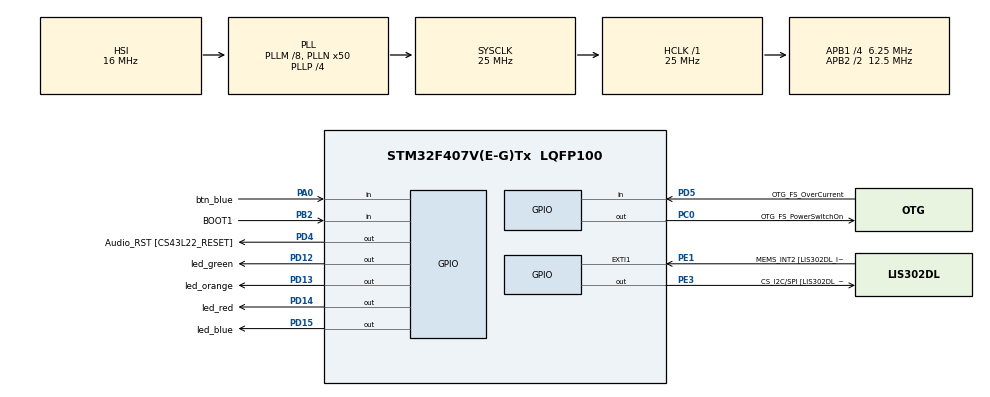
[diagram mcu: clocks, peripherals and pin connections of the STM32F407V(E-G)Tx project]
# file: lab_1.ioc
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Mcu.Family=STM32F4
Mcu.Name=STM32F407V(E-G)Tx
Mcu.Package=LQFP100
NVIC.PriorityGroup=NVIC_PRIORITYGROUP_4
NVIC.TIM7_IRQn=true\:0\:0\:false\:false\:true\:false\:true\:true
NVIC.TimeBase=TIM7_IRQn
NVIC.TimeBaseIP=TIM7
PA0-WKUP.GPIO_Label=btn_blue
PA0-WKUP.Signal=GPIO_Input
PA10.GPIO_Label=OTG_FS_ID
PA10.GPIO_Mode=GPIO_MODE_AF_PP
PA10.GPIO_PuPd=GPIO_NOPULL
PA10.GPIO_Speed=GPIO_SPEED_FREQ_LOW
PA10.Signal=USB_OTG_FS_ID
PA11.GPIO_Label=OTG_FS_DM
PA11.GPIO_Mode=GPIO_MODE_AF_PP
PA11.GPIO_PuPd=GPIO_NOPULL
PA11.GPIO_Speed=GPIO_SPEED_FREQ_LOW
PA11.Signal=USB_OTG_FS_DM
PA12.GPIO_Label=OTG_FS_DP
PA12.GPIO_Mode=GPIO_MODE_AF_PP
PA12.GPIO_PuPd=GPIO_NOPULL
PA12.GPIO_Speed=GPIO_SPEED_FREQ_LOW
PA12.Signal=USB_OTG_FS_DP
PA13.GPIO_Label=SWDIO
PA13.Mode=Serial_Wire
PA13.Signal=SYS_JTMS-SWDIO
PA14.GPIO_Label=SWCLK
PA14.Mode=Serial_Wire
PA14.Signal=SYS_JTCK-SWCLK
PA4.GPIO_Label=I2S3_WS [CS43L22_LRCK]
PA4.GPIO_Mode=GPIO_MODE_AF_PP
PA4.GPIO_PuPd=GPIO_NOPULL
PA4.GPIO_Speed=GPIO_SPEED_FREQ_LOW
PA4.Signal=I2S3_WS
PA5.GPIO_Label=SPI1_SCK [LIS302DL_SCL/SPC]
PA5.GPIO_Mode=GPIO_MODE_AF_PP
PA5.GPIO_PuPd=GPIO_NOPULL
PA5.GPIO_Speed=GPIO_SPEED_FREQ_LOW
PA5.Signal=SPI1_SCK
PA6.GPIO_Label=SPI1_MISO [LIS302DL_SDO]
PA6.GPIO_Mode=GPIO_MODE_AF_PP
PA6.GPIO_PuPd=GPIO_NOPULL
PA6.GPIO_Speed=GPIO_SPEED_FREQ_LOW
PA6.Signal=SPI1_MISO
PA7.GPIO_Label=SPI1_MOSI [LIS302DL_SDA/SDI/SDO]
PA7.GPIO_Mode=GPIO_MODE_AF_PP
PA7.GPIO_PuPd=GPIO_NOPULL
PA7.GPIO_Speed=GPIO_SPEED_FREQ_LOW
PA7.Signal=SPI1_MOSI
PA9.GPIO_Label=VBUS_FS
PA9.GPIO_Mode=GPIO_MODE_INPUT
PA9.GPIO_PuPd=GPIO_NOPULL
PA9.Signal=USB_OTG_FS_VBUS
PB10.GPIO_Label=CLK_IN [MP45DT02_CLK]
PB10.GPIO_Mode=GPIO_MODE_AF_PP
PB10.GPIO_PuPd=GPIO_NOPULL
PB10.GPIO_Speed=GPIO_SPEED_FREQ_LOW
PB10.Signal=I2S2_CK
PB2.GPIO_Label=BOOT1
PB2.GPIO_Mode=GPIO_MODE_INPUT
PB2.GPIO_PuPd=GPIO_NOPULL
PB2.Signal=GPIO_Input
PB3.GPIO_Label=SWO
PB3.Signal=SYS_JTDO-SWO
PB6.GPIO_Label=Audio_SCL [CS43L22_SCL]
PB6.GPIO_Mode=GPIO_MODE_AF_OD
PB6.GPIO_PuPd=GPIO_NOPULL
PB6.GPIO_Speed=GPIO_SPEED_FREQ_LOW
PB6.Signal=I2C1_SCL
PB9.GPIO_Label=Audio_SDA [CS43L22_SDA]
PB9.GPIO_Mode=GPIO_MODE_AF_OD
PB9.GPIO_PuPd=GPIO_NOPULL
PB9.GPIO_Speed=GPIO_SPEED_FREQ_LOW
PB9.Signal=I2C1_SDA
PC0.GPIO_Label=OTG_FS_PowerSwitchOn
PC0.GPIO_PuPd=GPIO_NOPULL
PC0.GPIO_Speed=GPIO_SPEED_FREQ_LOW
PC0.PinState=GPIO_PIN_SET
PC0.Signal=GPIO_Output
PC10.GPIO_Label=I2S3_SCK [CS43L22_SCLK]
PC10.GPIO_Mode=GPIO_MODE_AF_PP
PC10.GPIO_PuPd=GPIO_NOPULL
PC10.GPIO_Speed=GPIO_SPEED_FREQ_LOW
PC10.Signal=I2S3_CK
PC12.GPIO_Label=I2S3_SD [CS43L22_SDIN]
PC12.GPIO_Mode=GPIO_MODE_AF_PP
PC12.GPIO_PuPd=GPIO_NOPULL
PC12.GPIO_Speed=GPIO_SPEED_FREQ_LOW
PC12.Signal=I2S3_SD
PC14-OSC32_IN.GPIO_Label=PC14-OSC32_IN
PC14-OSC32_IN.Signal=RCC_OSC32_IN
PC15-OSC32_OUT.GPIO_Label=PC15-OSC32_OUT
PC15-OSC32_OUT.Signal=RCC_OSC32_OUT
PC3.GPIO_Label=PDM_OUT [MP45DT02_DOUT]
PC3.GPIO_Mode=GPIO_MODE_AF_PP
PC3.GPIO_PuPd=GPIO_NOPULL
PC3.GPIO_Speed=GPIO_SPEED_FREQ_LOW
PC3.Signal=I2S2_SD
PC7.GPIO_Label=I2S3_MCK [CS43L22_MCLK]
PC7.GPIO_Mode=GPIO_MODE_AF_PP
PC7.GPIO_PuPd=GPIO_NOPULL
PC7.GPIO_Speed=GPIO_SPEED_FREQ_LOW
PC7.Signal=I2S3_MCK
PD12.GPIO_Label=led_green
PD12.GPIO_PuPd=GPIO_NOPULL
PD12.GPIO_Speed=GPIO_SPEED_FREQ_LOW
PD12.Signal=GPIO_Output
PD13.GPIO_Label=led_orange
PD13.GPIO_PuPd=GPIO_NOPULL
PD13.GPIO_Speed=GPIO_SPEED_FREQ_LOW
PD13.Signal=GPIO_Output
PD14.GPIO_Label=led_red
PD14.GPIO_PuPd=GPIO_NOPULL
PD14.GPIO_Speed=GPIO_SPEED_FREQ_LOW
PD14.Signal=GPIO_Output
PD15.GPIO_Label=led_blue
PD15.GPIO_PuPd=GPIO_NOPULL
PD15.GPIO_Speed=GPIO_SPEED_FREQ_LOW
PD15.Signal=GPIO_Output
PD4.GPIO_Label=Audio_RST [CS43L22_RESET]
PD4.GPIO_PuPd=GPIO_NOPULL
PD4.GPIO_Speed=GPIO_SPEED_FREQ_LOW
PD4.Signal=GPIO_Output
PD5.GPIO_Label=OTG_FS_OverCurrent
PD5.GPIO_Mode=GPIO_MODE_INPUT
PD5.GPIO_PuPd=GPIO_NOPULL
PD5.Signal=GPIO_Input
PE1.GPIO_Label=MEMS_INT2 [LIS302DL_INT2]
PE1.GPIO_ModeDefaultEXTI=GPIO_MODE_EVT_RISING
PE1.GPIO_PuPd=GPIO_NOPULL
PE1.Signal=GPXTI1
PE3.GPIO_Label=CS_I2C/SPI [LIS302DL_CS_I2C/SPI]
PE3.GPIO_PuPd=GPIO_NOPULL
PE3.GPIO_Speed=GPIO_SPEED_FREQ_LOW
PE3.Signal=GPIO_Output
PH0-OSC_IN.GPIO_Label=PH0-OSC_IN
PH0-OSC_IN.Signal=RCC_OSC_IN
PH1-OSC_OUT.GPIO_Label=PH1-OSC_OUT
PH1-OSC_OUT.Signal=RCC_OSC_OUT
ProjectManager.HeapSize=0x200
ProjectManager.StackSize=0x400
ProjectManager.TargetToolchain=STM32CubeIDE
RCC.48MHZClocksFreq_Value=14285714.285714285
RCC.AHBFreq_Value=25000000
RCC.APB1CLKDivider=RCC_HCLK_DIV4
RCC.APB1Freq_Value=6250000
RCC.APB1TimFreq_Value=12500000
RCC.APB2CLKDivider=RCC_HCLK_DIV2
RCC.APB2Freq_Value=12500000
RCC.APB2TimFreq_Value=25000000
RCC.CortexFreq_Value=25000000
RCC.HCLKFreq_Value=25000000
RCC.HSE_VALUE=8000000
RCC.HSI_VALUE=16000000
RCC.LSE_VALUE=32768
RCC.PLLM=8
RCC.PLLN=50
RCC.PLLP=RCC_PLLP_DIV4
RCC.PLLQ=7
RCC.SYSCLKFreq_VALUE=25000000
RCC.SYSCLKSource=RCC_SYSCLKSOURCE_PLLCLK
RCC.VCOOutputFreq_Value=100000000
VP_SYS_VS_tim7.Mode=TIM7
board=STM32F407G-DISC1

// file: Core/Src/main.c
/* USER CODE BEGIN Header */
/**
  ******************************************************************************
  * @file           : main.c
  * @brief          : Main program body
  ******************************************************************************
  * @attention
  *
  * Copyright (c) 2025 STMicroelectronics.
  * All rights reserved.
  *
  * This software is licensed under terms that can be found in the LICENSE file
  * in the root directory of this software component.
  * If no LICENSE file comes with this software, it is provided AS-IS.
  *
  ******************************************************************************
  */
/* USER CODE END Header */
#include "main.h"

/* USER CODE BEGIN Includes */
#include "stdio.h"
#include "stdlib.h"
#include "FreeRTOS.h"
#include "task.h"
#include "queue.h"

/* USER CODE END Includes */

void SystemClock_Config(void);
static void MX_GPIO_Init(void);

/* USER CODE BEGIN 0 */
QueueHandle_t xQueue;
void LEDTask_App(void *pvParameters);
void BUTTONTask_App(void *pvParameters);
/* USER CODE END 0 */

int main(void)
{

  /* MCU Configuration--------------------------------------------------------*/

  /* Reset of all peripherals, Initializes the Flash interface and the Systick. */
  HAL_Init();

  /* Configure the system clock */
  SystemClock_Config();

  /* Initialize all configured peripherals */
  MX_GPIO_Init();
  /* USER CODE BEGIN 2 */
  xQueue = xQueueCreate(1, sizeof(int));

  xTaskCreate(
		  LEDTask_App,
		  "LEDTask_App",
		  128,
		  NULL,
		  1,
		  NULL);

  xTaskCreate(
		  BUTTONTask_App,
		  "BUTTONTask_App",
		  128,
		  NULL,
		  1,
		  NULL);

  vTaskStartScheduler();
  /* USER CODE END 2 */

  /* Infinite loop */
  while (1)
  {

  }
}

void SystemClock_Config(void)
{
  RCC_OscInitTypeDef RCC_OscInitStruct = {0};
  RCC_ClkInitTypeDef RCC_ClkInitStruct = {0};

  /** Configure the main internal regulator output voltage
  */
  __HAL_RCC_PWR_CLK_ENABLE();
  __HAL_PWR_VOLTAGESCALING_CONFIG(PWR_REGULATOR_VOLTAGE_SCALE1);

  /** Initializes the RCC Oscillators according to the specified parameters
  * in the RCC_OscInitTypeDef structure.
  */
  RCC_OscInitStruct.OscillatorType = RCC_OSCILLATORTYPE_HSI;
  RCC_OscInitStruct.HSIState = RCC_HSI_ON;
  RCC_OscInitStruct.HSICalibrationValue = RCC_HSICALIBRATION_DEFAULT;
  RCC_OscInitStruct.PLL.PLLState = RCC_PLL_ON;
  RCC_OscInitStruct.PLL.PLLSource = RCC_PLLSOURCE_HSI;
  RCC_OscInitStruct.PLL.PLLM = 8;
  RCC_OscInitStruct.PLL.PLLN = 50;
  RCC_OscInitStruct.PLL.PLLP = RCC_PLLP_DIV4;
  RCC_OscInitStruct.PLL.PLLQ = 7;
  if (HAL_RCC_OscConfig(&RCC_OscInitStruct) != HAL_OK)
  {
    Error_Handler();
  }

  /** Initializes the CPU, AHB and APB buses clocks
  */
  RCC_ClkInitStruct.ClockType = RCC_CLOCKTYPE_HCLK|RCC_CLOCKTYPE_SYSCLK
                              |RCC_CLOCKTYPE_PCLK1|RCC_CLOCKTYPE_PCLK2;
  RCC_ClkInitStruct.SYSCLKSource = RCC_SYSCLKSOURCE_PLLCLK;
  RCC_ClkInitStruct.AHBCLKDivider = RCC_SYSCLK_DIV1;
  RCC_ClkInitStruct.APB1CLKDivider = RCC_HCLK_DIV4;
  RCC_ClkInitStruct.APB2CLKDivider = RCC_HCLK_DIV2;

  if (HAL_RCC_ClockConfig(&RCC_ClkInitStruct, FLASH_LATENCY_0) != HAL_OK)
  {
    Error_Handler();
  }
}

static void MX_GPIO_Init(void)
{
  GPIO_InitTypeDef GPIO_InitStruct = {0};

  /* GPIO Ports Clock Enable */
  __HAL_RCC_GPIOE_CLK_ENABLE();
  __HAL_RCC_GPIOC_CLK_ENABLE();
  __HAL_RCC_GPIOH_CLK_ENABLE();
  __HAL_RCC_GPIOA_CLK_ENABLE();
  __HAL_RCC_GPIOB_CLK_ENABLE();
  __HAL_RCC_GPIOD_CLK_ENABLE();

  /*Configure GPIO pin Output Level */
  HAL_GPIO_WritePin(CS_I2C_SPI_GPIO_Port, CS_I2C_SPI_Pin, GPIO_PIN_RESET);

  /*Configure GPIO pin Output Level */
  HAL_GPIO_WritePin(OTG_FS_PowerSwitchOn_GPIO_Port, OTG_FS_PowerSwitchOn_Pin, GPIO_PIN_SET);

  /*Configure GPIO pin Output Level */
  HAL_GPIO_WritePin(GPIOD, led_green_Pin|led_orange_Pin|led_red_Pin|led_blue_Pin
                          |Audio_RST_Pin, GPIO_PIN_RESET);

  /*Configure GPIO pin : CS_I2C_SPI_Pin */
  GPIO_InitStruct.Pin = CS_I2C_SPI_Pin;
  GPIO_InitStruct.Mode = GPIO_MODE_OUTPUT_PP;
  GPIO_InitStruct.Pull = GPIO_NOPULL;
  GPIO_InitStruct.Speed = GPIO_SPEED_FREQ_LOW;
  HAL_GPIO_Init(CS_I2C_SPI_GPIO_Port, &GPIO_InitStruct);

  /*Configure GPIO pin : OTG_FS_PowerSwitchOn_Pin */
  GPIO_InitStruct.Pin = OTG_FS_PowerSwitchOn_Pin;
  GPIO_InitStruct.Mode = GPIO_MODE_OUTPUT_PP;
  GPIO_InitStruct.Pull = GPIO_NOPULL;
  GPIO_InitStruct.Speed = GPIO_SPEED_FREQ_LOW;
  HAL_GPIO_Init(OTG_FS_PowerSwitchOn_GPIO_Port, &GPIO_InitStruct);

  /*Configure GPIO pin : PDM_OUT_Pin */
  GPIO_InitStruct.Pin = PDM_OUT_Pin;
  GPIO_InitStruct.Mode = GPIO_MODE_AF_PP;
  GPIO_InitStruct.Pull = GPIO_NOPULL;
  GPIO_InitStruct.Speed = GPIO_SPEED_FREQ_LOW;
  GPIO_InitStruct.Alternate = GPIO_AF5_SPI2;
  HAL_GPIO_Init(PDM_OUT_GPIO_Port, &GPIO_InitStruct);

  /*Configure GPIO pin : btn_blue_Pin */
  GPIO_InitStruct.Pin = btn_blue_Pin;
  GPIO_InitStruct.Mode = GPIO_MODE_INPUT;
  GPIO_InitStruct.Pull = GPIO_NOPULL;
  HAL_GPIO_Init(btn_blue_GPIO_Port, &GPIO_InitStruct);

  /*Configure GPIO pin : I2S3_WS_Pin */
  GPIO_InitStruct.Pin = I2S3_WS_Pin;
  GPIO_InitStruct.Mode = GPIO_MODE_AF_PP;
  GPIO_InitStruct.Pull = GPIO_NOPULL;
  GPIO_InitStruct.Speed = GPIO_SPEED_FREQ_LOW;
  GPIO_InitStruct.Alternate = GPIO_AF6_SPI3;
  HAL_GPIO_Init(I2S3_WS_GPIO_Port, &GPIO_InitStruct);

  /*Configure GPIO pins : SPI1_SCK_Pin SPI1_MISO_Pin SPI1_MOSI_Pin */
  GPIO_InitStruct.Pin = SPI1_SCK_Pin|SPI1_MISO_Pin|SPI1_MOSI_Pin;
  GPIO_InitStruct.Mode = GPIO_MODE_AF_PP;
  GPIO_InitStruct.Pull = GPIO_NOPULL;
  GPIO_InitStruct.Speed = GPIO_SPEED_FREQ_LOW;
  GPIO_InitStruct.Alternate = GPIO_AF5_SPI1;
  HAL_GPIO_Init(GPIOA, &GPIO_InitStruct);

  /*Configure GPIO pin : BOOT1_Pin */
  GPIO_InitStruct.Pin = BOOT1_Pin;
  GPIO_InitStruct.Mode = GPIO_MODE_INPUT;
  GPIO_InitStruct.Pull = GPIO_NOPULL;
  HAL_GPIO_Init(BOOT1_GPIO_Port, &GPIO_InitStruct);

  /*Configure GPIO pin : CLK_IN_Pin */
  GPIO_InitStruct.Pin = CLK_IN_Pin;
  GPIO_InitStruct.Mode = GPIO_MODE_AF_PP;
  GPIO_InitStruct.Pull = GPIO_NOPULL;
  GPIO_InitStruct.Speed = GPIO_SPEED_FREQ_LOW;
  GPIO_InitStruct.Alternate = GPIO_AF5_SPI2;
  HAL_GPIO_Init(CLK_IN_GPIO_Port, &GPIO_InitStruct);

  /*Configure GPIO pins : led_green_Pin led_orange_Pin led_red_Pin led_blue_Pin
                           Audio_RST_Pin */
  GPIO_InitStruct.Pin = led_green_Pin|led_orange_Pin|led_red_Pin|led_blue_Pin
                          |Audio_RST_Pin;
  GPIO_InitStruct.Mode = GPIO_MODE_OUTPUT_PP;
  GPIO_InitStruct.Pull = GPIO_NOPULL;
  GPIO_InitStruct.Speed = GPIO_SPEED_FREQ_LOW;
  HAL_GPIO_Init(GPIOD, &GPIO_InitStruct);

  /*Configure GPIO pins : I2S3_MCK_Pin I2S3_SCK_Pin I2S3_SD_Pin */
  GPIO_InitStruct.Pin = I2S3_MCK_Pin|I2S3_SCK_Pin|I2S3_SD_Pin;
  GPIO_InitStruct.Mode = GPIO_MODE_AF_PP;
  GPIO_InitStruct.Pull = GPIO_NOPULL;
  GPIO_InitStruct.Speed = GPIO_SPEED_FREQ_LOW;
  GPIO_InitStruct.Alternate = GPIO_AF6_SPI3;
  HAL_GPIO_Init(GPIOC, &GPIO_InitStruct);

  /*Configure GPIO pin : VBUS_FS_Pin */
  GPIO_InitStruct.Pin = VBUS_FS_Pin;
  GPIO_InitStruct.Mode = GPIO_MODE_INPUT;
  GPIO_InitStruct.Pull = GPIO_NOPULL;
  HAL_GPIO_Init(VBUS_FS_GPIO_Port, &GPIO_InitStruct);

  /*Configure GPIO pins : OTG_FS_ID_Pin OTG_FS_DM_Pin OTG_FS_DP_Pin */
  GPIO_InitStruct.Pin = OTG_FS_ID_Pin|OTG_FS_DM_Pin|OTG_FS_DP_Pin;
  GPIO_InitStruct.Mode = GPIO_MODE_AF_PP;
  GPIO_InitStruct.Pull = GPIO_NOPULL;
  GPIO_InitStruct.Speed = GPIO_SPEED_FREQ_LOW;
  GPIO_InitStruct.Alternate = GPIO_AF10_OTG_FS;
  HAL_GPIO_Init(GPIOA, &GPIO_InitStruct);

  /*Configure GPIO pin : OTG_FS_OverCurrent_Pin */
  GPIO_InitStruct.Pin = OTG_FS_OverCurrent_Pin;
  GPIO_InitStruct.Mode = GPIO_MODE_INPUT;
  GPIO_InitStruct.Pull = GPIO_NOPULL;
  HAL_GPIO_Init(OTG_FS_OverCurrent_GPIO_Port, &GPIO_InitStruct);

  /*Configure GPIO pins : Audio_SCL_Pin Audio_SDA_Pin */
  GPIO_InitStruct.Pin = Audio_SCL_Pin|Audio_SDA_Pin;
  GPIO_InitStruct.Mode = GPIO_MODE_AF_OD;
  GPIO_InitStruct.Pull = GPIO_NOPULL;
  GPIO_InitStruct.Speed = GPIO_SPEED_FREQ_LOW;
  GPIO_InitStruct.Alternate = GPIO_AF4_I2C1;
  HAL_GPIO_Init(GPIOB, &GPIO_InitStruct);

  /*Configure GPIO pin : MEMS_INT2_Pin */
  GPIO_InitStruct.Pin = MEMS_INT2_Pin;
  GPIO_InitStruct.Mode = GPIO_MODE_EVT_RISING;
  GPIO_InitStruct.Pull = GPIO_NOPULL;
  HAL_GPIO_Init(MEMS_INT2_GPIO_Port, &GPIO_InitStruct);

}

/* USER CODE BEGIN 4 */
void LEDTask_App(void *pvParameters)
{
	static unsigned int switch_msg = 0;
	/* Infinite loop */
	for(;;)
	{
		xQueueReceive(xQueue, &switch_msg, 1);
		if(switch_msg == 0){
			STATE0:
				HAL_GPIO_TogglePin(led_red_GPIO_Port, GPIO_PIN_14);
				xQueueReceive(xQueue, &switch_msg, 1000);
				HAL_GPIO_TogglePin(led_red_GPIO_Port, GPIO_PIN_14);

				if (switch_msg == 1) {
					goto STATE1;
				}

				HAL_GPIO_TogglePin(led_orange_GPIO_Port, GPIO_PIN_13);
				xQueueReceive(xQueue, &switch_msg, 1000);
				HAL_GPIO_TogglePin(led_red_GPIO_Port, GPIO_PIN_13);

				if (switch_msg == 1) {
					goto STATE1;
				}

				HAL_GPIO_TogglePin(led_green_GPIO_Port, GPIO_PIN_12);
				xQueueReceive(xQueue, &switch_msg, 1000);
				HAL_GPIO_TogglePin(led_green_GPIO_Port, GPIO_PIN_12);

				if (switch_msg == 1) {
					goto STATE1;
				}

		}
		if(switch_msg == 1){
			STATE1:
				HAL_GPIO_TogglePin(led_orange_GPIO_Port, GPIO_PIN_13);
				xQueueReceive(xQueue, &switch_msg, 2000);
				HAL_GPIO_TogglePin(led_orange_GPIO_Port, GPIO_PIN_13);

				if (switch_msg == 0) {
					goto STATE0;
				}
				xQueueReceive(xQueue, &switch_msg, 2000);
		}
	}
}

void BUTTONTask_App(void *pvParameters)
{
	static uint16_t buttonState = 0;
	    static unsigned int LEDstate = 0;

	    while (1) {
	    	buttonState = (buttonState << 1) | HAL_GPIO_ReadPin(btn_blue_GPIO_Port, GPIO_PIN_0) | 0xFE00;

	        if (buttonState == 0xFF00) {
	        	LEDstate ^= 1;
	        	xQueueSend(xQueue, (int *) &LEDstate, 1);
	        }

	        vTaskDelay(10);
	    }
}
/* USER CODE END 4 */

void HAL_TIM_PeriodElapsedCallback(TIM_HandleTypeDef *htim)
{
  if (htim->Instance == TIM7) {
    HAL_IncTick();
  }
}

void Error_Handler(void)
{
  __disable_irq();
  while (1)
  {
  }
}
